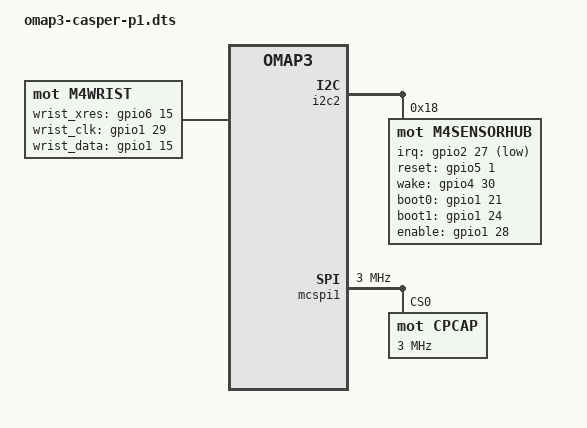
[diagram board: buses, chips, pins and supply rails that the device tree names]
/*
 * Copyright (C) 2013 Motorola Mobility LLC
 *
 * This program is free software; you can redistribute it and/or modify
 * it under the terms of the GNU General Public License version 2 as
 * published by the Free Software Foundation.
 */
/dts-v1/;

/include/ "omap3-minnow.dtsi"

/ {
	mmi,revision = "p1";
	mmi,hwrev = <0xFE>;

	vib-gpio {
		compatible = "mot,vib-gpio";
	};

        m4sensor {
                compatible = "simple-bus";
                wrist {
                        compatible = "mot,m4wrist";
                        mot,wrist_xres = <&gpio6 15 0>; /* xres gpio-175 */
                        mot,wrist_clk =  <&gpio1 29 0>; /* clk  gpio-029 */
                        mot,wrist_data = <&gpio1 15 0>; /* data gpio-015 */
                };

                pressure {
                        compatible = "mot,m4pressure";
                };
                mpu9150 {
                        compatible = "mot,m4mpu9150";
                };
                pedometer {
                        compatible = "mot,m4pedometer";
                };
                passive {
                        compatible = "mot,m4passive";
                };
                gesture {
                        compatible = "mot,m4gesture";
                };
                display {
                        compatible = "mot,m4display";
                };
                download {
                        compatible = "mot,m4download";
                };
                stillmode {
                        compatible = "mot,m4stillmode";
                };
        };

};

&i2c2 {
    m4sensorhub@39 {
		status = "disabled";
    };
};

&i2c2 {
    m4sensorhub@18 {
        compatible = "mot,m4sensorhub";
        reg = <0x18>;

        mot,irq-gpio    = <&gpio2 27 1>; /* gpio-059 */
        mot,reset-gpio  = <&gpio5  1 2>; /* gpio-129 */
        mot,wake-gpio   = <&gpio4 30 0>; /* gpio-126 */
        mot,boot0-gpio  = <&gpio1 21 0>; /* gpio-021 */
        mot,boot1-gpio  = <&gpio1 24 0>; /* gpio-024 */
        mot,enable-gpio = <&gpio1 28 0>; /* gpio-028 */
	mot,fw-filename = "m4sensorhub-p1_casper.bin";
    };
};

&mcspi1 {
	clock-frequency = <3000000>;
	cpcap {
		compatible = "mot,cpcap";
		reg = <0>; /* CS 0 */
		spi-max-frequency = <3000000>;
		spi-cs-high;

		irq-gpio = <0>;
	};
};
